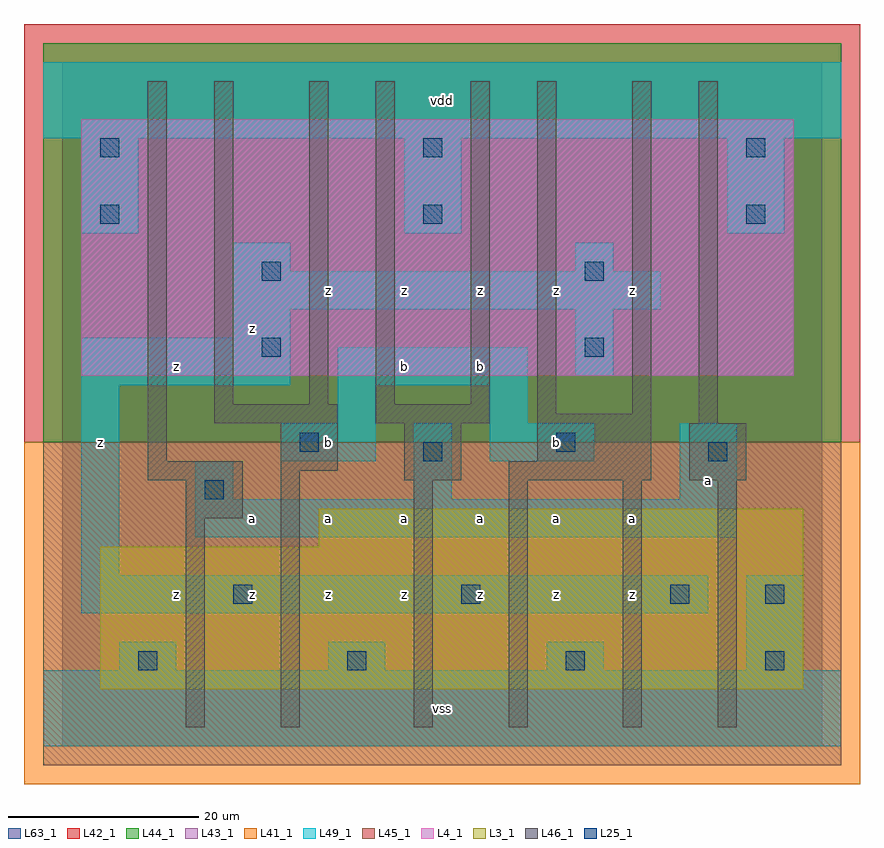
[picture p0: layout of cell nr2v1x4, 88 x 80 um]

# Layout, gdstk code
import gdstk
lib = gdstk.Library(unit=1e-6, precision=1e-09)
def R(c, l, rs):  # rectangles x0, y0, x1, y1
    for r in rs: c.add(gdstk.rectangle(r[:2], r[2:], *l))
def A(c, l, x, y, w, h, nx, ny, dx, dy):  # array of equal rectangles
    R(c, l, [(x+i*dx, y+j*dy, x+i*dx+w, y+j*dy+h) for i in range(nx) for j in range(ny)])
L3_1 = (3, 1)
L4_1 = (4, 1)
L25_1 = (25, 1)
L41_1 = (41, 1)
L42_1 = (42, 1)
L43_1 = (43, 1)
L44_1 = (44, 1)
L45_1 = (45, 1)
L46_1 = (46, 1)
L49_1 = (49, 1)
L63_1 = (63, 1)

nr2v1x4 = lib.new_cell('nr2v1x4')
R(nr2v1x4, L3_1, [(4,6,78,21), (27,21,78,25)])
R(nr2v1x4, L4_1, [(2,39,77,66)])
A(nr2v1x4, L25_1, 4, 55, 2, 2, 3, 2, 34, 7)
R(nr2v1x4, L25_1, [(8,8,10,10), (30,8,32,10), (53,8,55,10), (74,8,76,10), (18,15,20,17), (42,15,44,17), (64,15,66,17), (74,15,76,17), (15,26,17,28), (38,30,40,32), (68,30,70,32), (25,31,27,33), (52,31,54,33), (21,41,23,43), (55,41,57,43), (21,49,23,51), (55,49,57,51)])
R(nr2v1x4, L41_1, [(-4,-4,84,32)])
R(nr2v1x4, L42_1, [(-4,32,84,76)])
R(nr2v1x4, L43_1, [(4,6,78,21), (27,21,78,25), (2,39,77,66)])
R(nr2v1x4, L44_1, [(-2,32,82,74)])
R(nr2v1x4, L45_1, [(-2,-2,82,32)])
R(nr2v1x4, L46_1, [(13,2,15,24), (23,2,25,29), (37,2,39,28), (47,2,49,28), (59,2,61,28), (69,2,71,28), (13,24,19,28), (9,28,19,30), (36,28,42,34), (47,28,62,30), (66,28,72,34), (23,29,29,34), (9,30,11,70), (50,30,62,35), (16,34,29,36), (33,34,45,36), (67,34,69,70), (50,35,52,70), (60,35,62,70), (16,36,18,70), (26,36,28,70), (33,36,35,70), (43,36,45,70)])
A(nr2v1x4, L49_1, 2, 54, 6, 10, 3, 1, 34, 0)
R(nr2v1x4, L49_1, [(-2,0,82,8), (6,8,12,11), (28,8,34,11), (51,8,57,11), (72,8,78,18), (2,14,68,18), (2,18,6,38), (14,22,71,26), (14,26,18,30), (37,26,41,34), (65,26,71,34), (23,30,33,34), (45,30,56,34), (29,34,33,38), (45,34,49,38), (2,38,24,43), (29,38,49,42), (54,39,58,46), (18,43,24,46), (18,46,63,50), (18,50,24,53), (54,50,58,53), (-2,64,82,72)])
R(nr2v1x4, L63_1, [(0,0,80,72)])
nr2v1x4.add(gdstk.Label('z', (4,32), layer=49, texttype=1))
nr2v1x4.add(gdstk.Label('z', (20,16), layer=49, texttype=1))
nr2v1x4.add(gdstk.Label('z', (28,16), layer=49, texttype=1))
nr2v1x4.add(gdstk.Label('z', (12,16), layer=49, texttype=1))
nr2v1x4.add(gdstk.Label('a', (20,24), layer=49, texttype=1))
nr2v1x4.add(gdstk.Label('a', (28,24), layer=49, texttype=1))
nr2v1x4.add(gdstk.Label('b', (28,32), layer=49, texttype=1))
nr2v1x4.add(gdstk.Label('z', (12,40), layer=49, texttype=1))
nr2v1x4.add(gdstk.Label('z', (20,44), layer=49, texttype=1))
nr2v1x4.add(gdstk.Label('z', (28,48), layer=49, texttype=1))
nr2v1x4.add(gdstk.Label('vss', (40,4), layer=49, texttype=1))
nr2v1x4.add(gdstk.Label('z', (36,16), layer=49, texttype=1))
nr2v1x4.add(gdstk.Label('z', (44,16), layer=49, texttype=1))
nr2v1x4.add(gdstk.Label('a', (36,24), layer=49, texttype=1))
nr2v1x4.add(gdstk.Label('a', (44,24), layer=49, texttype=1))
nr2v1x4.add(gdstk.Label('b', (36,40), layer=49, texttype=1))
nr2v1x4.add(gdstk.Label('b', (44,40), layer=49, texttype=1))
nr2v1x4.add(gdstk.Label('z', (36,48), layer=49, texttype=1))
nr2v1x4.add(gdstk.Label('z', (44,48), layer=49, texttype=1))
nr2v1x4.add(gdstk.Label('vdd', (40,68), layer=49, texttype=1))
nr2v1x4.add(gdstk.Label('z', (60,16), layer=49, texttype=1))
nr2v1x4.add(gdstk.Label('z', (52,16), layer=49, texttype=1))
nr2v1x4.add(gdstk.Label('a', (52,24), layer=49, texttype=1))
nr2v1x4.add(gdstk.Label('a', (60,24), layer=49, texttype=1))
nr2v1x4.add(gdstk.Label('b', (52,32), layer=49, texttype=1))
nr2v1x4.add(gdstk.Label('z', (52,48), layer=49, texttype=1))
nr2v1x4.add(gdstk.Label('z', (60,48), layer=49, texttype=1))
nr2v1x4.add(gdstk.Label('a', (68,28), layer=49, texttype=1))

lib.write_gds('nr2v1x4.gds')
